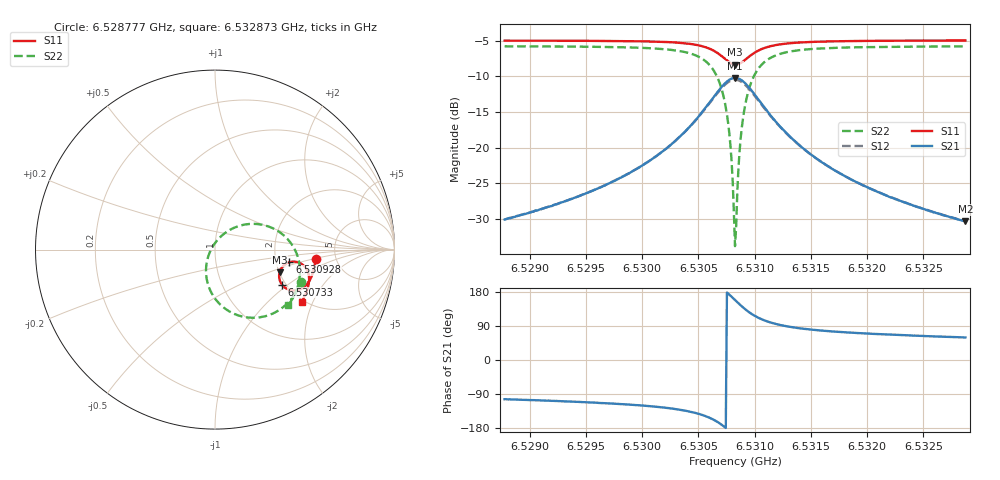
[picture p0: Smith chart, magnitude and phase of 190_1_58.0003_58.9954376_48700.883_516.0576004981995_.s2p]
#  HZ  S  RI  R  50.00
! Rohde & Schwarz Vector Network Analyzer
! Rohde-Schwarz,ZNB20-2Port,1311601062101988,3.16
! Created: UTC 3/21/2024, 12:58:47 AM
! freq[Hz]  re:S11  im:S11  re:S21  im:S21  re:S12  im:S12  re:S22  im:S22
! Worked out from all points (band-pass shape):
!   401 points, 6.528777 GHz to 6.532873 GHz, reference 50 ohm
!   highest |S21| = -10.22 dB at 6.530825 GHz (marker M1); lowest = -30.3 dB at 6.532873 GHz (marker M2)
!   |S21| within 3 dB of the highest: 6.530621 GHz to 6.531031 GHz (410 kHz wide, 0.00628 % of centre)
!   lowest |S11| = -8.4 dB at 6.530825 GHz (marker M3), VSWR 2.23, Z = 101 - j29.5 ohm
!   |S11| at or under -10 dB: nowhere
!   |S22| runs from -33.8 to -5.8 dB; largest |S21 - S12| = 0.012
!   S11 on the Smith chart (normalised r, x): 6.528777 GHz: 3.49, -0.51; 6.530733 GHz: 1.91, -0.91; 6.530928 GHz: 2.37, -0.40; 6.532873 GHz: 1.92, -1.66
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6.5287769e9  0.5605 -0.0503  -0.00729 -0.0304  -0.00778 -0.0305  0.4817 -0.1784
6.5294631e9  0.5511 -0.1076  -0.0167 -0.0434  -0.0178 -0.0431  0.4498 -0.2417
6.5301493e9  0.5242 -0.1768  -0.0505 -0.0745  -0.0527 -0.0732  0.3668 -0.3305
6.5303848e9  0.4975 -0.2072  -0.0905 -0.0942  -0.0933 -0.0909  0.2851 -0.3697
6.5305589e9  0.4538 -0.2272  -0.1589 -0.1007  -0.1613 -0.0942  0.1586 -0.3744
6.5306613e9  0.4089 -0.2225  -0.2288 -0.0742  -0.2281 -0.0646  0.0414 -0.317
6.530733e9  0.3733 -0.1954  -0.2804 -0.0156  -0.2746 -0.00531  -0.0344 -0.2081
6.530774e9  0.3599 -0.1676  -0.2965 0.0377  -0.2875 0.046  -0.0503 -0.1171
6.5307842e9  0.3582 -0.1595  -0.2975 0.0528  -0.2879 0.0601  -0.049 -0.0923
6.530815e9  0.3584 -0.1339  -0.292 0.0985  -0.2808 0.1032  -0.0306 -0.0183
6.5308252e9  0.3602 -0.1256  -0.2868 0.1134  -0.2756 0.1172  -0.0197 0.00502
6.5308354e9  0.363 -0.1173  -0.2805 0.1277  -0.2692 0.1304  -0.0063 0.0272
6.5308457e9  0.3666 -0.1096  -0.2726 0.1413  -0.2615 0.143  0.00887 0.0479
6.5308662e9  0.3761 -0.0955  -0.2536 0.1655  -0.2432 0.1655  0.0449 0.0837
6.5308866e9  0.3879 -0.0842  -0.2311 0.1849  -0.2216 0.1835  0.0853 0.1111
6.5309276e9  0.4149 -0.0702  -0.182 0.2083  -0.175 0.2052  0.1704 0.1403
6.5309993e9  0.4581 -0.0694  -0.1063 0.2105  -0.1026 0.2075  0.2976 0.1289
6.5311017e9  0.4963 -0.091  -0.041 0.1795  -0.0393 0.1778  0.4028 0.0603
6.5312553e9  0.5185 -0.127  -0.00158 0.1328  -0.000282 0.1321  0.4598 -0.0356
6.5315114e9  0.5245 -0.1705  0.0153 0.0869  0.0165 0.0865  0.4737 -0.1335
6.5321975e9  0.5073 -0.242  0.0177 0.0415  0.0184 0.0415  0.4443 -0.2497
6.5328735e9  0.4823 -0.2934  0.0154 0.0262  0.016 0.0259  0.4092 -0.3094
